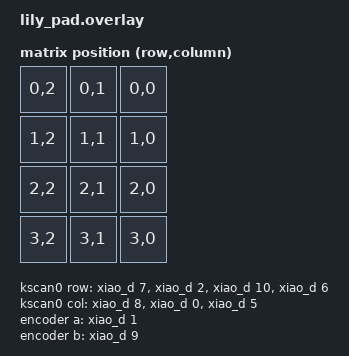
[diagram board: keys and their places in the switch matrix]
#include <dt-bindings/zmk/matrix_transform.h>
#include <physical_layouts.dtsi>

/ {
    chosen {
        zmk,kscan = &kscan0;
        zmk,physical-layout = &physical_layout0;
    };

    physical_layout0: physical_layout_0 {
        compatible = "zmk,physical-layout";
        display-name = "Default";
        transform = <&default_transform>;
        kscan = <&kscan0>;
        keys
            = <&key_physical_attrs 100 100   0   0 0 0 0>
            , <&key_physical_attrs 100 100 100   0 0 0 0>
            , <&key_physical_attrs 100 100 200   0 0 0 0>
            , <&key_physical_attrs 100 100   0 100 0 0 0>
            , <&key_physical_attrs 100 100 100 100 0 0 0>
            , <&key_physical_attrs 100 100 200 100 0 0 0>
            , <&key_physical_attrs 100 100   0 200 0 0 0>
            , <&key_physical_attrs 100 100 100 200 0 0 0>
            , <&key_physical_attrs 100 100 200 200 0 0 0>
            , <&key_physical_attrs 100 100   0 300 0 0 0>
            , <&key_physical_attrs 100 100 100 300 0 0 0>
            , <&key_physical_attrs 100 100 200 300 0 0 0>
            ;
    };

    kscan0: kscan0 {
        compatible = "zmk,kscan-gpio-matrix";
        diode-direction = "col2row";
        wakeup-source;

        col-gpios
            = <&xiao_d 8 GPIO_ACTIVE_HIGH>
            , <&xiao_d 0 GPIO_ACTIVE_HIGH>
            , <&xiao_d 5 GPIO_ACTIVE_HIGH>
            ;

        row-gpios
            = <&xiao_d 7 (GPIO_ACTIVE_HIGH | GPIO_PULL_DOWN)>
            , <&xiao_d 2 (GPIO_ACTIVE_HIGH | GPIO_PULL_DOWN)>
            , <&xiao_d 10 (GPIO_ACTIVE_HIGH | GPIO_PULL_DOWN)>
            , <&xiao_d 6 (GPIO_ACTIVE_HIGH | GPIO_PULL_DOWN)>
            ;
    };

    default_transform: keymap_transform0 {
        compatible = "zmk,matrix-transform";
        columns = <3>;
        rows = <4>;
        map = <
            RC(0,2) RC(0,1) RC(0,0)
            RC(1,2) RC(1,1) RC(1,0)
            RC(2,2) RC(2,1) RC(2,0)
            RC(3,2) RC(3,1) RC(3,0)
        >;
    };
    

    encoder: encoder {
        compatible = "alps,ec11";
        a-gpios = <&xiao_d 1 (GPIO_ACTIVE_HIGH | GPIO_PULL_UP)>;
        b-gpios = <&xiao_d 9 (GPIO_ACTIVE_HIGH | GPIO_PULL_UP)>;
        steps = <80>;
    };

    sensors: sensors {
        compatible = "zmk,keymap-sensors";
        sensors = <&encoder>;
        triggers-per-rotation = <20>;
    };
};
